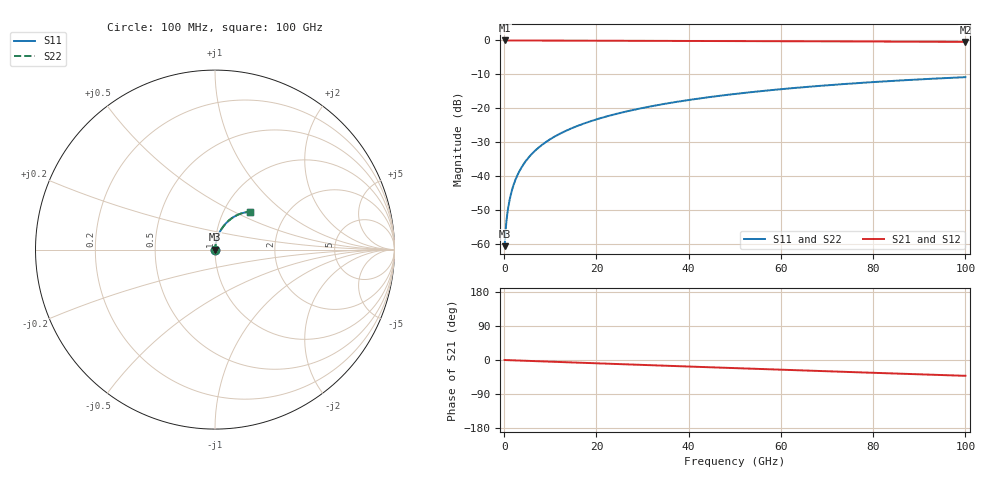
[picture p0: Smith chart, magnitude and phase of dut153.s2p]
! Touchstone file exported from HFSS 2026.1.0
!  File:  C:/ffzhzh/LocalFiles/Ansys_Project_Files/temp_train_RDL_153_1783499948_44152.aedt
!  Generated:  04:40:13 PM Jul  8, 2026
!  Design:  RDL
!  Project:  temp_train_RDL_153_1783499948_44152
! Variables:
!  h_bsmrdl = 2um
!  h_ox = 20um
!  h_rdl = 5um
!  h_sub = 80um
!  h_tmrdl = 2.66um
!  h_tsv = 80um
!  h_via = 3um
!  l_bsmrdl = 300um
!  l_sub = 505.81um
!  l_tmrdl = 105.81um
!  m_sub = 200um
!  pitch = 44.56um
!  r_tsv = 6um
!  s_tmrdl = 10um
!  w_bsmrdl = 18um
!  w_sub = 500um
!  w_tmrdl = 29.15um
!  x_tsv_center1 = 120.385um
!  x_tsv_center2 = 438.385um
!  x_tsv_center3 = 573.345um
!  x_tsv_center4 = 891.345um
!  x_tsv_center5 = 1026.305um
!  x_tsv_center6 = 1344.305um
# GHz S MA R 50.000000
! Terminal data exported
! Port[1] = TM_RDL1_1_T1
! Port[2] = TM_RDL1_1_T2
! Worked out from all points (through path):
!   1000 points, 100 MHz to 100 GHz, reference 50 ohm
!   highest |S21| = -0.01 dB at 100 MHz (marker M1); lowest = -0.4 dB at 100 GHz (marker M2)
!   group delay of S21, straight-line fit = 1.16 ps
!   lowest |S11| = -60.5 dB at 100 MHz (marker M3), VSWR 1.00, Z = 50.1 + j0.0428 ohm
!   |S11| at or under -10 dB: start of sweep to end of sweep
!   |S22| runs from -60.5 to -10.8 dB; largest |S21 - S12| = 3.2e-15
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0.1  0.0009419 27.0  0.9992 -0.0  0.9992 -0.0  0.0009419 27.0
! Gamma 0 0 0 0
! Port Impedance 50 0 50 0
0.4  0.001868 58.6  0.999 -0.2  0.999 -0.2  0.001868 58.6
0.7  0.002866 68.0  0.9989 -0.3  0.9989 -0.3  0.002866 68.0
0.9  0.003537 71.6  0.9989 -0.4  0.9989 -0.4  0.003537 71.6
1.2  0.00456 75.1  0.9989 -0.5  0.9989 -0.5  0.00456 75.1
1.6  0.005945 78.0  0.9988 -0.7  0.9988 -0.7  0.005945 78.0
2.1  0.007696 80.1  0.9988 -0.9  0.9988 -0.9  0.007696 80.1
2.7  0.009809 81.5  0.9987 -1.2  0.9987 -1.2  0.009809 81.5
3.4  0.01228 82.4  0.9986 -1.5  0.9986 -1.5  0.01228 82.4
4.3  0.01545 83.0  0.9985 -1.9  0.9985 -1.9  0.01545 83.0
5.3  0.01896 83.2  0.9984 -2.3  0.9984 -2.3  0.01896 83.2
6.4  0.02282 83.2  0.9982 -2.8  0.9982 -2.8  0.02282 83.2
9.2  0.03254 82.6  0.9976 -4.1  0.9976 -4.1  0.03254 82.6
12.6  0.04417 81.4  0.9967 -5.5  0.9967 -5.5  0.04417 81.4
16.8  0.0583 79.9  0.9955 -7.4  0.9955 -7.4  0.0583 79.9
24.2  0.08272 77.1  0.9931 -10.5  0.9931 -10.5  0.08272 77.1
33.4  0.1123 73.4  0.9895 -14.5  0.9895 -14.5  0.1123 73.5
41.2  0.1366 70.3  0.986 -17.8  0.986 -17.8  0.1366 70.4
50.1  0.1634 66.8  0.9815 -21.5  0.9815 -21.5  0.1634 66.8
66.7  0.2101 60.1  0.972 -28.4  0.972 -28.4  0.2101 60.1
83.4  0.2521 53.5  0.9615 -35.1  0.9615 -35.1  0.2521 53.5
100  0.2883 47.0  0.9509 -41.7  0.9509 -41.7  0.2883 47.1
